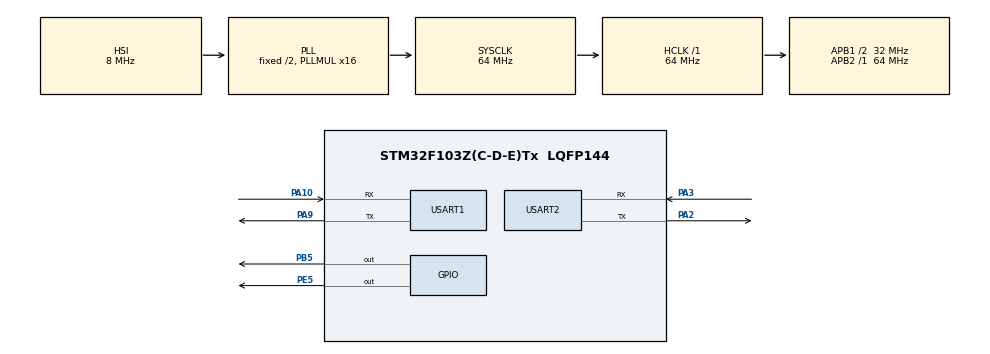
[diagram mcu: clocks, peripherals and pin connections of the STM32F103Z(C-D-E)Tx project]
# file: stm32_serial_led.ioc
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Mcu.Family=STM32F1
Mcu.Name=STM32F103Z(C-D-E)Tx
Mcu.Package=LQFP144
NVIC.PriorityGroup=NVIC_PRIORITYGROUP_4
NVIC.USART1_IRQn=true\:0\:0\:false\:false\:true\:true\:true\:true
PA10.Mode=Asynchronous
PA10.Signal=USART1_RX
PA13.Mode=Serial_Wire
PA13.Signal=SYS_JTMS-SWDIO
PA14.Mode=Serial_Wire
PA14.Signal=SYS_JTCK-SWCLK
PA2.Mode=Asynchronous
PA2.Signal=USART2_TX
PA3.Mode=Asynchronous
PA3.Signal=USART2_RX
PA9.Mode=Asynchronous
PA9.Signal=USART1_TX
PB5.Signal=GPIO_Output
PE5.Signal=GPIO_Output
ProjectManager.HeapSize=0x200
ProjectManager.StackSize=0x400
ProjectManager.TargetToolchain=MDK-ARM V5.32
RCC.AHBFreq_Value=64000000
RCC.APB1CLKDivider=RCC_HCLK_DIV2
RCC.APB1Freq_Value=32000000
RCC.APB1TimFreq_Value=64000000
RCC.APB2Freq_Value=64000000
RCC.APB2TimFreq_Value=64000000
RCC.HCLKFreq_Value=64000000
RCC.PLLMUL=RCC_PLL_MUL16
RCC.SYSCLKFreq_VALUE=64000000
RCC.SYSCLKSource=RCC_SYSCLKSOURCE_PLLCLK
RCC.USBFreq_Value=64000000
USART1.VirtualMode=VM_ASYNC
USART2.VirtualMode=VM_ASYNC
board=custom

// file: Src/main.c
/* USER CODE BEGIN Header */
/**
  ******************************************************************************
  * @file           : main.c
  * @brief          : Main program body
  ******************************************************************************
  */
/* USER CODE END Header */
#include "main.h"
#include "usart.h"
#include "gpio.h"

/* USER CODE BEGIN Includes */
#include <stdio.h>
#include <string.h>
/* USER CODE END Includes */

/* USER CODE BEGIN PD */
/* MQTT 模式，无需 AT 指令，配置由 ESP8266 固件管理 */
/* USER CODE END PD */

/* USER CODE BEGIN PV */
char     rx_buf[64];
uint8_t  rx_idx = 0;
uint8_t  flame_alarm = 0;    // 火焰传感器报警（独立于 MQTT）
uint8_t  flame_debounce = 0; // 火焰防抖计数器
uint8_t  gate_open = 0;      // 闸门是否已开
uint8_t  mqtt_lv = 0;        // MQTT 上次下发的报警等级
uint8_t  mqtt_servo = 0;     // MQTT 上次下发的舵机指令
/* USER CODE END PV */

void SystemClock_Config(void);
/* USER CODE BEGIN PFP */
void servo_stop(void);
void servo_open_gate(void);
void servo_close_gate(void);
void servo_tick(void);
void set_outputs(int level);
/* USER CODE END PFP */

int main(void)
{

  /* MCU Configuration--------------------------------------------------------*/

  /* Reset of all peripherals, Initializes the Flash interface and the Systick. */
  HAL_Init();

  /* Configure the system clock */
  SystemClock_Config();

  /* Initialize all configured peripherals */
  MX_GPIO_Init();
  MX_USART1_UART_Init();
  MX_USART2_UART_Init();
  /* USER CODE BEGIN 2 */
  /* 手动初始化 PB8（蜂鸣器）*/
  {
    GPIO_InitTypeDef GPIO_InitStruct = {0};
    GPIO_InitStruct.Pin   = GPIO_PIN_8;
    GPIO_InitStruct.Mode  = GPIO_MODE_OUTPUT_PP;
    GPIO_InitStruct.Pull  = GPIO_NOPULL;
    GPIO_InitStruct.Speed = GPIO_SPEED_FREQ_LOW;
    HAL_GPIO_Init(GPIOB, &GPIO_InitStruct);
  }

  /* PA0 火焰传感器输入 */
  {
    GPIO_InitTypeDef GPIO_InitStruct = {0};
    GPIO_InitStruct.Pin   = GPIO_PIN_0;
    GPIO_InitStruct.Mode  = GPIO_MODE_INPUT;
    GPIO_InitStruct.Pull  = GPIO_PULLUP;  /* 火焰传感器 DO 低电平有效 */
    HAL_GPIO_Init(GPIOA, &GPIO_InitStruct);
  }

  /* TIM3 PWM 舵机 (PA6) — 直接寄存器操作 */
  RCC->APB1ENR |= RCC_APB1ENR_TIM3EN;  /* 开 TIM3 时钟 */
  {
    GPIO_InitTypeDef GPIO_InitStruct = {0};
    GPIO_InitStruct.Pin       = GPIO_PIN_6;
    GPIO_InitStruct.Mode      = GPIO_MODE_AF_PP;
    GPIO_InitStruct.Speed     = GPIO_SPEED_FREQ_LOW;
    HAL_GPIO_Init(GPIOA, &GPIO_InitStruct);
  }
  TIM3->PSC   = 128 - 1;           /* 64MHz/128 = 500kHz */
  TIM3->ARR   = 10000 - 1;         /* 500kHz/10000 = 50Hz  */
  TIM3->CCR1  = 750;               /* 1.5ms = 停止      */
  TIM3->CCMR1 = TIM_CCMR1_OC1M_1 | TIM_CCMR1_OC1M_2;  /* PWM 模式 1 */
  TIM3->CCER  = TIM_CCER_CC1E;     /* 使能 CH1 输出 */
  TIM3->CR1   = TIM_CR1_ARPE;      /* 自动重载预装载 */
  TIM3->CR1  |= TIM_CR1_CEN;       /* 启动定时器 */

  /* LED 默认关闭（RESET=亮, SET=灭，低电平有效） */
  HAL_GPIO_WritePin(GPIOE, GPIO_PIN_5, GPIO_PIN_SET);
  HAL_GPIO_WritePin(GPIOB, GPIO_PIN_5, GPIO_PIN_SET);
  HAL_GPIO_WritePin(GPIOB, GPIO_PIN_8, GPIO_PIN_RESET);  /* 蜂鸣器关 */

  /* 启动闪烁：DS2 红灯闪 3 次 */
  for (int i = 0; i < 3; i++) {
    HAL_GPIO_WritePin(GPIOB, GPIO_PIN_5, GPIO_PIN_RESET);
    HAL_Delay(100);
    HAL_GPIO_WritePin(GPIOB, GPIO_PIN_5, GPIO_PIN_SET);
    HAL_Delay(100);
  }

  /* 等待 ESP8266 完成 MQTT 初始化 */
  HAL_Delay(4000);

  /* 清空 USART2 缓冲区（ESP8266 启动时可能发的杂讯） */
  {
    uint8_t dump;
    while (HAL_UART_Receive(&huart2, &dump, 1, 2) == HAL_OK) {}
  }
  memset(rx_buf, 0, sizeof(rx_buf));
  rx_idx = 0;

  /* 黄灯闪 2 次，表示进入主循环 */
  for (int i = 0; i < 2; i++) {
    HAL_GPIO_WritePin(GPIOE, GPIO_PIN_5, GPIO_PIN_RESET);
    HAL_Delay(200);
    HAL_GPIO_WritePin(GPIOE, GPIO_PIN_5, GPIO_PIN_SET);
    HAL_Delay(200);
  }

  /* USER CODE END 2 */

  /* Infinite loop */
  while (1)
  {

    /* USER CODE BEGIN 3 */
    servo_tick();  /* 非阻塞舵机状态更新 */

    /* ── 火焰传感器检测（PA0，低电平有效）── */
    {
      static uint32_t last_flame_check = 0;
      uint32_t now = HAL_GetTick();
      if (now - last_flame_check >= 100) {  /* 每 100ms 检测一次 */
        last_flame_check = now;
        uint8_t raw = (HAL_GPIO_ReadPin(GPIOA, GPIO_PIN_0) == GPIO_PIN_RESET);
        if (raw) {
          if (flame_debounce < 3) flame_debounce++;
          if (flame_debounce >= 3 && !flame_alarm) {
            flame_alarm = 1;
            set_outputs(2);        /* 红灯+蜂鸣器+黄灯 */
            servo_open_gate();
            HAL_UART_Transmit(&huart2, (uint8_t*)"FLAME:1\n", 8, 100);
          }
        } else {
          if (flame_debounce > 0) flame_debounce--;
          if (flame_debounce == 0 && flame_alarm) {
            flame_alarm = 0;
            set_outputs(mqtt_lv);  /* 恢复到 MQTT 上次状态 */
            if (mqtt_servo) servo_open_gate();
            else servo_close_gate();
            HAL_UART_Transmit(&huart2, (uint8_t*)"FLAME:0\n", 8, 100);
          }
        }
      }
    }

    /* ── MQTT 消息解析（USART2 ← ESP8266）── */
    uint8_t ch;
    if (HAL_UART_Receive(&huart2, &ch, 1, 1) == HAL_OK) {
      if (ch == '\r') {
        /* 忽略 */
      } else if (ch == '\n') {
        rx_buf[rx_idx] = '\0';
        if (rx_idx > 0) {
          int lv = 0, buz = 0, servo = 0;
          if (sscanf(rx_buf, "LV:%d,BUZ:%d,SERVO:%d", &lv, &buz, &servo) == 3) {
            mqtt_lv = lv;
            mqtt_servo = servo;
            if (!flame_alarm) {  /* 火焰报警优先级最高，不覆盖 */
              set_outputs(lv);
              if (servo) servo_open_gate();
              else servo_close_gate();
            }
          }
        }
        rx_idx = 0;
      } else {
        HAL_GPIO_TogglePin(GPIOB, GPIO_PIN_5);  /* DS0 翻转 = 收到字节 */
        rx_buf[rx_idx++] = ch;
        if (rx_idx >= 63) rx_idx = 0;
      }
    }
  /* USER CODE END 3 */
  }
}

void SystemClock_Config(void)
{
  RCC_OscInitTypeDef RCC_OscInitStruct = {0};
  RCC_ClkInitTypeDef RCC_ClkInitStruct = {0};

  /** Initializes the RCC Oscillators according to the specified parameters
  * in the RCC_OscInitTypeDef structure.
  */
  RCC_OscInitStruct.OscillatorType = RCC_OSCILLATORTYPE_HSI;
  RCC_OscInitStruct.HSIState = RCC_HSI_ON;
  RCC_OscInitStruct.HSICalibrationValue = RCC_HSICALIBRATION_DEFAULT;
  RCC_OscInitStruct.PLL.PLLState = RCC_PLL_ON;
  RCC_OscInitStruct.PLL.PLLSource = RCC_PLLSOURCE_HSI_DIV2;
  RCC_OscInitStruct.PLL.PLLMUL = RCC_PLL_MUL16;
  if (HAL_RCC_OscConfig(&RCC_OscInitStruct) != HAL_OK)
  {
    Error_Handler();
  }

  /** Initializes the CPU, AHB and APB buses clocks
  */
  RCC_ClkInitStruct.ClockType = RCC_CLOCKTYPE_HCLK|RCC_CLOCKTYPE_SYSCLK
                              |RCC_CLOCKTYPE_PCLK1|RCC_CLOCKTYPE_PCLK2;
  RCC_ClkInitStruct.SYSCLKSource = RCC_SYSCLKSOURCE_PLLCLK;
  RCC_ClkInitStruct.AHBCLKDivider = RCC_SYSCLK_DIV1;
  RCC_ClkInitStruct.APB1CLKDivider = RCC_HCLK_DIV2;
  RCC_ClkInitStruct.APB2CLKDivider = RCC_HCLK_DIV1;

  if (HAL_RCC_ClockConfig(&RCC_ClkInitStruct, FLASH_LATENCY_2) != HAL_OK)
  {
    Error_Handler();
  }
}

/* USER CODE BEGIN 4 */
/* ── 舵机控制（360° SG90, 50Hz PWM，非阻塞）── */
/* CCR: 250=正转全速, 750=停止, 1250=反转全速 */

static uint32_t servo_timer = 0;
static uint8_t  servo_state = 0;  /* 0=空闲, 1=开门中, 2=关门中 */
#define SERVO_DURATION 1200  /* 舵机动作持续 ms */

void servo_stop(void) {
  TIM3->CCR1 = 750;
}
void servo_open_gate(void) {
  return;  /* TODO: 演示前删除此行，恢复舵机功能（同时恢复火焰传感器舵机响应） */
  if (gate_open || servo_state) return;
  gate_open = 1;
  servo_state = 1;
  servo_timer = HAL_GetTick();
  TIM3->CCR1 = 300;
}
void servo_close_gate(void) {
  return;  /* TODO: 演示前删除此行，恢复舵机功能 */
  if (!gate_open || servo_state) return;
  gate_open = 0;
  servo_state = 2;
  servo_timer = HAL_GetTick();
  TIM3->CCR1 = 1200;
}
/* 在主循环中调用，非阻塞检查舵机是否完成 */
void servo_tick(void) {
  if (servo_state && (HAL_GetTick() - servo_timer >= SERVO_DURATION)) {
    servo_state = 0;
    TIM3->CCR1 = 750;
  }
}

/* ── 统一输出：LED + 蜂鸣器 ── */
void set_outputs(int level) {
  if (level == 0) {
    HAL_GPIO_WritePin(GPIOE, GPIO_PIN_5, GPIO_PIN_SET);
    HAL_GPIO_WritePin(GPIOB, GPIO_PIN_5, GPIO_PIN_SET);
    HAL_GPIO_WritePin(GPIOB, GPIO_PIN_8, GPIO_PIN_RESET);
  } else if (level == 1) {
    HAL_GPIO_TogglePin(GPIOE, GPIO_PIN_5);
    HAL_GPIO_WritePin(GPIOB, GPIO_PIN_5, GPIO_PIN_SET);
    HAL_GPIO_WritePin(GPIOB, GPIO_PIN_8, GPIO_PIN_RESET);
  } else {
    /* level == 2: 红色报警（蜂鸣器临时静音） */
    HAL_GPIO_WritePin(GPIOE, GPIO_PIN_5, GPIO_PIN_RESET);
    HAL_GPIO_WritePin(GPIOB, GPIO_PIN_5, GPIO_PIN_RESET);
    HAL_GPIO_WritePin(GPIOB, GPIO_PIN_8, GPIO_PIN_RESET);  /* TODO: 演示前改回 SET */
  }
}
/* USER CODE END 4 */

void Error_Handler(void)
{
  __disable_irq();
  while (1)
  {
  }
}
